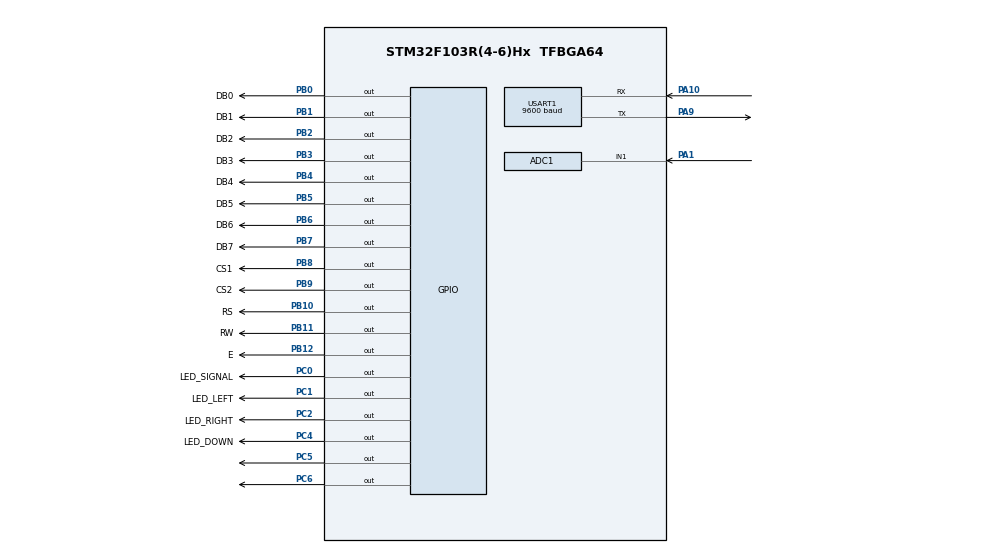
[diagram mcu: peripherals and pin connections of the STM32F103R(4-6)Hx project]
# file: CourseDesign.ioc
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ADC1.Channel-1\#ChannelRegularConversion=ADC_CHANNEL_1
ADC1.Channel-2\#ChannelInjectedConversion=ADC_CHANNEL_1
ADC1.ContinuousConvMode=ENABLE
ADC1.EnableInjectedConversion=ENABLE
ADC1.InjNumberOfConversion=1
ADC1.InjectedOffset-2\#ChannelInjectedConversion=0
ADC1.InjectedRank-2\#ChannelInjectedConversion=1
ADC1.NbrOfConversionFlag=1
ADC1.Rank-1\#ChannelRegularConversion=1
ADC1.SamplingTime-1\#ChannelRegularConversion=ADC_SAMPLETIME_1CYCLE_5
ADC1.SamplingTime-2\#ChannelInjectedConversion=ADC_SAMPLETIME_1CYCLE_5
ADC1.master=1
Mcu.Family=STM32F1
Mcu.Name=STM32F103R(4-6)Hx
Mcu.Package=TFBGA64
NVIC.PriorityGroup=NVIC_PRIORITYGROUP_4
NVIC.TIM3_IRQn=true\:0\:0\:false\:false\:true\:true\:true\:true
PA1.Signal=ADCx_IN1
PA10.Mode=Asynchronous
PA10.Signal=USART1_RX
PA13.Mode=Serial_Wire
PA13.Signal=SYS_JTMS-SWDIO
PA14.Mode=Serial_Wire
PA14.Signal=SYS_JTCK-SWCLK
PA9.Mode=Asynchronous
PA9.Signal=USART1_TX
PB0.GPIO_Label=DB0
PB0.Signal=GPIO_Output
PB1.GPIO_Label=DB1
PB1.Signal=GPIO_Output
PB10.GPIO_Label=RS
PB10.Signal=GPIO_Output
PB11.GPIO_Label=RW
PB11.Signal=GPIO_Output
PB12.GPIO_Label=E
PB12.Signal=GPIO_Output
PB2.GPIO_Label=DB2
PB2.Signal=GPIO_Output
PB3.GPIO_Label=DB3
PB3.Signal=GPIO_Output
PB4.GPIO_Label=DB4
PB4.Signal=GPIO_Output
PB5.GPIO_Label=DB5
PB5.Signal=GPIO_Output
PB6.GPIO_Label=DB6
PB6.Signal=GPIO_Output
PB7.GPIO_Label=DB7
PB7.Signal=GPIO_Output
PB8.GPIO_Label=CS1
PB8.Signal=GPIO_Output
PB9.GPIO_Label=CS2
PB9.Signal=GPIO_Output
PC0.GPIO_Label=LED_SIGNAL
PC0.Signal=GPIO_Output
PC1.GPIO_Label=LED_LEFT
PC1.Signal=GPIO_Output
PC2.GPIO_Label=LED_RIGHT
PC2.Signal=GPIO_Output
PC4.GPIO_Label=LED_DOWN
PC4.Signal=GPIO_Output
PC5.Signal=GPIO_Output
PC6.Signal=GPIO_Output
PD0-OSC_IN.Mode=HSE-External-Oscillator
PD0-OSC_IN.Signal=RCC_OSC_IN
PD1-OSC_OUT.Mode=HSE-External-Oscillator
PD1-OSC_OUT.Signal=RCC_OSC_OUT
ProjectManager.HeapSize=0x200
ProjectManager.StackSize=0x400
ProjectManager.TargetToolchain=MDK-ARM V5
RCC.APB1Freq_Value=8000000
RCC.APB2Freq_Value=8000000
SH.ADCx_IN1.0=ADC1_IN1,IN1
TIM3.Period=99
TIM3.Prescaler=7999
USART1.BaudRate=9600
USART1.VirtualMode=VM_ASYNC
VP_TIM3_VS_ClockSourceINT.Mode=Internal
board=custom

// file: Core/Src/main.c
/* USER CODE BEGIN Header */
/**
 ******************************************************************************
 * @file           : main.c
 * @brief          : Main program body
 ******************************************************************************
 * @attention
 *
 * Copyright (c) 2022 STMicroelectronics.
 * All rights reserved.
 *
 * This software is licensed under terms that can be found in the LICENSE file
 * in the root directory of this software component.
 * If no LICENSE file comes with this software, it is provided AS-IS.
 *
 ******************************************************************************
 */
/* USER CODE END Header */
#include "main.h"

/* USER CODE BEGIN Includes */
#include <stdio.h>
/* USER CODE END Includes */

/* USER CODE BEGIN PD */
#define PB0 GPIOB, GPIO_PIN_0
#define PB1 GPIOB, GPIO_PIN_1
#define PB2 GPIOB, GPIO_PIN_2
#define PB3 GPIOB, GPIO_PIN_3
#define PB4 GPIOB, GPIO_PIN_4
#define PB5 GPIOB, GPIO_PIN_5
#define PB6 GPIOB, GPIO_PIN_6
#define PB7 GPIOB, GPIO_PIN_7

#define E GPIOB, GPIO_PIN_12
#define RW GPIOB, GPIO_PIN_11
#define RS GPIOB, GPIO_PIN_10
#define CS1 GPIOB, GPIO_PIN_8
#define CS2 GPIOB, GPIO_PIN_9

#define SIGNAL GPIOC, GPIO_PIN_0
#define LEFT GPIOC, GPIO_PIN_1
#define RIGHT GPIOC, GPIO_PIN_2
#define DOWN GPIOC, GPIO_PIN_4

#define TYPE1 GPIOC, GPIO_PIN_5
#define TYPE0 GPIOC, GPIO_PIN_6
/* USER CODE END PD */

/* USER CODE BEGIN PM */
int score = 0;
int startflag = 0;
int map[8][7];  //每个格子的黑白，黑为1，白�?0
int R[3], L[3]; //正在控制的块的行列位�?
int blocktype = 0;
uint16_t ADC_Value = 0;
uint8_t button[1] = {0x00};
char c_huan[] = {
    /*--  文字:  �??  --*/
    /*--  宋体12;  此字体下对应的点阵为：宽x�??=16x16   --*/
    0x04, 0x24, 0x44, 0x84, 0x64, 0x9C, 0x40, 0x30, 0x0F, 0xC8, 0x08, 0x08, 0x28, 0x18, 0x00, 0x00,
    0x10, 0x08, 0x06, 0x01, 0x82, 0x4C, 0x20, 0x18, 0x06, 0x01, 0x06, 0x18, 0x20, 0x40, 0x80, 0x00};
char c_ying[] = {
    /*--  文字:  �??  --*/
    /*--  宋体12;  此字体下对应的点阵为：宽x�??=16x16   --*/
    0x40, 0x40, 0x42, 0xCC, 0x00, 0x00, 0xFC, 0x04, 0x02, 0x00, 0xFC, 0x04, 0x04, 0xFC, 0x00, 0x00,
    0x00, 0x40, 0x20, 0x1F, 0x20, 0x40, 0x4F, 0x44, 0x42, 0x40, 0x7F, 0x42, 0x44, 0x43, 0x40, 0x00};
char c_fen[] = {
    /*--  文字:  �??  --*/
    /*--  宋体12;  此字体下对应的点阵为：宽x�??=16x16   --*/
    0x80, 0x40, 0x20, 0x90, 0x88, 0x86, 0x80, 0x80, 0x80, 0x83, 0x8C, 0x10, 0x20, 0x40, 0x80, 0x00,
    0x00, 0x80, 0x40, 0x20, 0x18, 0x07, 0x00, 0x40, 0x80, 0x40, 0x3F, 0x00, 0x00, 0x00, 0x00, 0x00};
char c_shu[] = {
    /*--  文字:  �??  --*/
    /*--  宋体12;  此字体下对应的点阵为：宽x�??=16x16   --*/
    0x90, 0x52, 0x34, 0x10, 0xFF, 0x10, 0x34, 0x52, 0x80, 0x70, 0x8F, 0x08, 0x08, 0xF8, 0x08, 0x00,
    0x82, 0x9A, 0x56, 0x63, 0x22, 0x52, 0x8E, 0x00, 0x80, 0x40, 0x33, 0x0C, 0x33, 0x40, 0x80, 0x00};
char c_number[][32] = {
    /*--  文字:  �??  --*/
    /*--  宋体12;  此字体下对应的点阵为：宽x�??=16x16   --*/
    {0x00, 0x00, 0x00, 0xFC, 0x02, 0x01, 0x01, 0x01, 0x01, 0x01, 0x02, 0xFC, 0x00, 0x00, 0x00, 0x00,
     0x00, 0x00, 0x00, 0x03, 0x04, 0x08, 0x08, 0x08, 0x08, 0x08, 0x04, 0x03, 0x00, 0x00, 0x00, 0x00},

    /*--  文字:  �??  --*/
    /*--  宋体12;  此字体下对应的点阵为：宽x�??=16x16   --*/
    {0x00, 0x00, 0x00, 0x00, 0x00, 0x04, 0x02, 0xFF, 0x00, 0x00, 0x00, 0x00, 0x00, 0x00, 0x00, 0x00,
     0x00, 0x00, 0x00, 0x00, 0x00, 0x00, 0x00, 0x0F, 0x00, 0x00, 0x00, 0x00, 0x00, 0x00, 0x00, 0x00},

    /*--  文字:  �??  --*/
    /*--  宋体12;  此字体下对应的点阵为：宽x�??=16x16   --*/
    {0x00, 0x00, 0x00, 0x04, 0x02, 0x01, 0x01, 0x81, 0x41, 0x22, 0x1C, 0x00, 0x00, 0x00, 0x00, 0x00,
     0x00, 0x00, 0x00, 0x08, 0x0C, 0x0A, 0x09, 0x08, 0x08, 0x08, 0x08, 0x08, 0x00, 0x00, 0x00, 0x00},

    /*--  文字:  �??  --*/
    /*--  宋体12;  此字体下对应的点阵为：宽x�??=16x16   --*/
    {0x00, 0x00, 0x00, 0x00, 0x01, 0x01, 0x01, 0x11, 0x19, 0x15, 0x23, 0xC1, 0x00, 0x00, 0x00, 0x00,
     0x00, 0x00, 0x00, 0x00, 0x04, 0x08, 0x08, 0x08, 0x08, 0x08, 0x04, 0x03, 0x00, 0x00, 0x00, 0x00},

    /*--  文字:  �??  --*/
    /*--  宋体12;  此字体下对应的点阵为：宽x�??=16x16   --*/
    {0x00, 0x00, 0x00, 0xC0, 0x30, 0x0C, 0x03, 0x00, 0xF8, 0x00, 0x00, 0x00, 0x00, 0x00, 0x00, 0x00,
     0x00, 0x00, 0x01, 0x01, 0x01, 0x01, 0x01, 0x01, 0x0F, 0x01, 0x01, 0x01, 0x00, 0x00, 0x00, 0x00},

    /*--  文字:  �??  --*/
    /*--  宋体12;  此字体下对应的点阵为：宽x�??=16x16   --*/
    {0x00, 0x00, 0x00, 0x1F, 0x11, 0x11, 0x11, 0x11, 0x21, 0xC1, 0x00, 0x00, 0x00, 0x00, 0x00, 0x00,
     0x00, 0x00, 0x00, 0x04, 0x08, 0x08, 0x08, 0x08, 0x04, 0x03, 0x00, 0x00, 0x00, 0x00, 0x00, 0x00},

    /*--  文字:  �??  --*/
    /*--  宋体12;  此字体下对应的点阵为：宽x�??=16x16   --*/
    {0x00, 0x00, 0x00, 0xC0, 0x30, 0x28, 0x24, 0x22, 0x21, 0x40, 0x80, 0x00, 0x00, 0x00, 0x00, 0x00,
     0x00, 0x00, 0x00, 0x03, 0x04, 0x08, 0x08, 0x08, 0x08, 0x04, 0x03, 0x00, 0x00, 0x00, 0x00, 0x00},

    /*--  文字:  �??  --*/
    /*--  宋体12;  此字体下对应的点阵为：宽x�??=16x16   --*/
    {0x00, 0x00, 0x00, 0x01, 0x01, 0x01, 0x81, 0x61, 0x19, 0x05, 0x03, 0x01, 0x00, 0x00, 0x00, 0x00,
     0x00, 0x00, 0x00, 0x00, 0x00, 0x00, 0x0F, 0x00, 0x00, 0x00, 0x00, 0x00, 0x00, 0x00, 0x00, 0x00},

    /*--  文字:  �??  --*/
    /*--  宋体12;  此字体下对应的点阵为：宽x�??=16x16   --*/
    {0x00, 0x00, 0x00, 0x8C, 0x52, 0x21, 0x21, 0x21, 0x21, 0x52, 0x8C, 0x00, 0x00, 0x00, 0x00, 0x00,
     0x00, 0x00, 0x00, 0x03, 0x04, 0x08, 0x08, 0x08, 0x08, 0x04, 0x03, 0x00, 0x00, 0x00, 0x00, 0x00},

    /*--  文字:  �??  --*/
    /*--  宋体12;  此字体下对应的点阵为：宽x�??=16x16   --*/
    {0x00, 0x00, 0x00, 0x1C, 0x22, 0x41, 0x41, 0x41, 0x41, 0xC2, 0x3C, 0x00, 0x00, 0x00, 0x00, 0x00,
     0x00, 0x00, 0x00, 0x00, 0x00, 0x08, 0x04, 0x02, 0x01, 0x00, 0x00, 0x00, 0x00, 0x00, 0x00, 0x00}};
char c_gameover[][32] = {
    /*--  文字:  �??  --*/
    /*--  宋体12;  此字体下对应的点阵为：宽x�??=16x16   --*/
    {0x00, 0x00, 0x00, 0xF8, 0x04, 0x02, 0x02, 0x02, 0x02, 0x82, 0x84, 0x8E, 0x80, 0x00, 0x00, 0x00,
     0x00, 0x00, 0x00, 0x03, 0x04, 0x08, 0x08, 0x08, 0x08, 0x08, 0x04, 0x0F, 0x00, 0x00, 0x00, 0x00},

    /*--  文字:  �??  --*/
    /*--  宋体12;  此字体下对应的点阵为：宽x�??=16x16   --*/
    {0x00, 0x00, 0x00, 0x00, 0xC0, 0xB0, 0x8C, 0x82, 0x8C, 0xB0, 0xC0, 0x00, 0x00, 0x00, 0x00, 0x00,
     0x00, 0x08, 0x0C, 0x0B, 0x00, 0x00, 0x00, 0x00, 0x00, 0x00, 0x00, 0x0B, 0x0C, 0x08, 0x00, 0x00},

    /*--  文字:  �??  --*/
    /*--  宋体12;  此字体下对应的点阵为：宽x�??=16x16   --*/
    {0x00, 0x00, 0x02, 0xFE, 0x04, 0x18, 0x60, 0x80, 0x60, 0x18, 0x04, 0xFE, 0x02, 0x00, 0x00, 0x00,
     0x00, 0x00, 0x08, 0x0F, 0x08, 0x00, 0x00, 0x01, 0x00, 0x00, 0x08, 0x0F, 0x08, 0x00, 0x00, 0x00},

    /*--  文字:  �??  --*/
    /*--  宋体12;  此字体下对应的点阵为：宽x�??=16x16   --*/
    {0x00, 0x00, 0x02, 0xFE, 0x42, 0x42, 0x42, 0x42, 0xE2, 0x02, 0x02, 0x0E, 0x00, 0x00, 0x00, 0x00,
     0x00, 0x00, 0x08, 0x0F, 0x08, 0x08, 0x08, 0x08, 0x08, 0x08, 0x08, 0x0E, 0x00, 0x00, 0x00, 0x00},

    /*--  文字:  �??  --*/
    /*--  宋体12;  此字体下对应的点阵为：宽x�??=16x16   --*/
    {0x00, 0x00, 0xF0, 0x08, 0x04, 0x02, 0x02, 0x02, 0x02, 0x04, 0x08, 0xF0, 0x00, 0x00, 0x00, 0x00,
     0x00, 0x00, 0x01, 0x02, 0x04, 0x08, 0x08, 0x08, 0x08, 0x04, 0x02, 0x01, 0x00, 0x00, 0x00, 0x00},

    /*--  文字:  �??  --*/
    /*--  宋体12;  此字体下对应的点阵为：宽x�??=16x16   --*/
    {0x00, 0x02, 0x06, 0x1A, 0x60, 0x80, 0x00, 0x00, 0x00, 0x80, 0x60, 0x1A, 0x06, 0x02, 0x00, 0x00,
     0x00, 0x00, 0x00, 0x00, 0x00, 0x01, 0x06, 0x08, 0x06, 0x01, 0x00, 0x00, 0x00, 0x00, 0x00, 0x00},

    /*--  文字:  �??  --*/
    /*--  宋体12;  此字体下对应的点阵为：宽x�??=16x16   --*/
    {0x00, 0x00, 0x02, 0xFE, 0x42, 0x42, 0x42, 0x42, 0xE2, 0x02, 0x02, 0x0E, 0x00, 0x00, 0x00, 0x00,
     0x00, 0x00, 0x08, 0x0F, 0x08, 0x08, 0x08, 0x08, 0x08, 0x08, 0x08, 0x0E, 0x00, 0x00, 0x00, 0x00},

    /*--  文字:  �??  --*/
    /*--  宋体12;  此字体下对应的点阵为：宽x�??=16x16   --*/
    {0x00, 0x00, 0x02, 0xFE, 0x42, 0x42, 0xC2, 0x42, 0x42, 0x42, 0x24, 0x18, 0x00, 0x00, 0x00, 0x00,
     0x00, 0x00, 0x08, 0x0F, 0x08, 0x00, 0x00, 0x01, 0x02, 0x04, 0x08, 0x08, 0x00, 0x00, 0x00, 0x00}};
/* USER CODE END PM */

ADC_HandleTypeDef hadc1;

TIM_HandleTypeDef htim3;

UART_HandleTypeDef huart1;

void SystemClock_Config(void);
static void MX_GPIO_Init(void);
static void MX_USART1_UART_Init(void);
static void MX_TIM3_Init(void);
static void MX_ADC1_Init(void);

/* USER CODE BEGIN 0 */
void SetPB(char data) //设置PB0-PB7
{
    HAL_GPIO_WritePin(PB0, data % 2);
    HAL_GPIO_WritePin(PB1, (data >> 1) % 2);
    HAL_GPIO_WritePin(PB2, (data >> 2) % 2);
    HAL_GPIO_WritePin(PB3, (data >> 3) % 2);
    HAL_GPIO_WritePin(PB4, (data >> 4) % 2);
    HAL_GPIO_WritePin(PB5, (data >> 5) % 2);
    HAL_GPIO_WritePin(PB6, (data >> 6) % 2);
    HAL_GPIO_WritePin(PB7, (data >> 7) % 2);
}
void CheckBusy() //忙检�??
{
    HAL_GPIO_WritePin(RW, 1);
    HAL_GPIO_WritePin(RS, 0);
    HAL_GPIO_WritePin(E, 1);
    while (1)
    {
        HAL_GPIO_WritePin(E, 0);
        if (HAL_GPIO_ReadPin(PB7) == 0)
            break;
    }
    HAL_GPIO_WritePin(E, 1);
}
void WriteCmd(char data) //写指�??
{
    HAL_GPIO_WritePin(RS, 0);
    HAL_GPIO_WritePin(RW, 0);
    HAL_GPIO_WritePin(E, 1);
    SetPB(data);
    HAL_GPIO_WritePin(E, 0);
}
void WriteData(char data) //写数�??
{
    HAL_GPIO_WritePin(RS, 1);
    HAL_GPIO_WritePin(RW, 0);
    HAL_GPIO_WritePin(E, 1);
    SetPB(data);
    HAL_GPIO_WritePin(E, 0);
}
void LCD_Init() //初始�??
{
    WriteCmd(0x30);
    HAL_Delay(5);
    WriteCmd(0x0C); //�??显示，关光标，不闪烁
    HAL_Delay(5);
    WriteCmd(0x01); //清除显示
    HAL_Delay(5);
    WriteCmd(0x06); //光标的移动方向向左，DDRM的地�??计数器（AC）加1
    HAL_Delay(5);
}
void SetPosition(char x, char y) //设置坐标
{
    if (y >= 64)
    {
        HAL_GPIO_WritePin(CS1, 1);
        HAL_GPIO_WritePin(CS2, 0);
        y = y - 64;
    }
    else
    {
        HAL_GPIO_WritePin(CS1, 0);
        HAL_GPIO_WritePin(CS2, 1);
    }
    WriteCmd(0x40 | y);
    HAL_Delay(10);
    WriteCmd(0xb8 | x);
}
void DisplayCharacter(char R, char L, char p[]) //显示字符
{
    char i;
    for (i = 0; i < 16; i++)
    {
        SetPosition(2 * R, 16 * L + i);
        WriteData(p[i]);
        SetPosition(2 * R + 1, 16 * L + i);
        WriteData(p[i + +16]);
    }
}
void DisplayBlack(char R, char L) //显示黑色方块
{
    char i;
    for (i = 0; i < 8; i++)
    {
        SetPosition(R, 8 * L + i);
        WriteData(0xFF);
    }
}
void DisplayWrite(char R, char L) //显示白色方块
{
    char i;
    for (i = 0; i < 8; i++)
    {
        SetPosition(R, 8 * L + i);
        WriteData(0x00);
    }
}
void LCD_ShowHuanYing()
{
    DisplayCharacter(0, 6, c_huan);
    DisplayCharacter(0, 7, c_ying);
}
void LCD_ShoeFenShu()
{
    DisplayCharacter(0, 6, c_fen);
    DisplayCharacter(0, 7, c_shu);
}
void LCD_ShowScore()
{
    if (score >= 1000)
        DisplayCharacter(1, 4, c_number[(score % 10000) / 1000]);
    if (score >= 100)
        DisplayCharacter(1, 5, c_number[(score % 1000) / 100]);
    if (score >= 10)
        DisplayCharacter(1, 6, c_number[(score % 100) / 10]);
    if (score >= 0)
        DisplayCharacter(1, 7, c_number[score % 10]);
}
void LCD_ShowGO()
{
    for (int i = 0; i < 8; i++)
        DisplayCharacter(i / 4 + 2, i % 4 + 4, c_gameover[i]);
}
void LCD_ShowStartWrite()
{
    for (int i = 0; i < 128; i++)
        if (i % 16 == 7)
            DisplayBlack(i / 16, i % 16);
        else
            DisplayWrite(i / 16, i % 16);
}
void MakeNewBlock()
{
    blocktype = ((int)ADC_Value % 400) / 100;
    switch (blocktype)
    {
    case 0: //横直�?
        R[0] = 0;
        L[0] = 2;
        R[1] = 0;
        L[1] = 3;
        R[2] = 0;
        L[2] = 4;
        break;
    case 1: //竖直�?
        R[0] = 2;
        L[0] = 3;
        R[1] = 1;
        L[1] = 3;
        R[2] = 0;
        L[2] = 3;
        break;
    case 2: //左上�?
        R[0] = 1;
        L[0] = 3;
        R[1] = 0;
        L[1] = 3;
        R[2] = 0;
        L[2] = 4;
        break;
    case 3: //右下�?
        R[0] = 1;
        L[0] = 3;
        R[1] = 0;
        L[1] = 4;
        R[2] = 1;
        L[2] = 4;
        break;
    }
    for (int i = 0; i < 3; i++)
        if (map[R[i]][L[i]] == 1)
        {
            startflag = 0;
            return;
        }
    for (int i = 0; i < 3; i++)
    {
        DisplayBlack(R[i], L[i]);
        map[R[i]][L[i]] = 1;
    }
}
void BlockGetBottom()
{
    for (int i = 0; i < 8; i++)
    {
        if (map[i][0] == 1 && map[i][1] == 1 && map[i][2] == 1 && map[i][3] == 1 && map[i][4] == 1 && map[i][5] == 1 && map[i][6] == 1)
        {
            for (int j = i; j > 0; j--)
            {
                for (int k = 0; k < 7; k++)
                {
                    DisplayWrite(j, k);
                    if (map[j - 1][k] == 0)
                    {
                        DisplayWrite(j, k);
                        map[j][k] = 0;
                    }
                    if (map[j - 1][k] == 1)
                    {
                        DisplayBlack(j, k);
                        map[j][k] = 1;
                    }
                }
            }
            score++;
            HAL_UART_Transmit(&huart1, "Score+1\r\n", 10, 1000);
            LCD_ShowScore();
        }
    }
    MakeNewBlock();
}
void BlockStep()
{
    if (R[0] == 7 || R[1] == 7 || R[2] == 7)
    {
        BlockGetBottom();
        return;
    }
    switch (blocktype)
    {
    case 0:
        if (map[R[0] + 1][L[0]] == 1 || map[R[1] + 1][L[1]] == 1 || map[R[2] + 1][L[2]] == 1)
        {
            BlockGetBottom();
            return;
        }
        break;
    case 1:
        if (map[R[0] + 1][L[0]] == 1)
        {
            BlockGetBottom();
            return;
        }
        break;
    case 2:
        if (map[R[0] + 1][L[0]] == 1 || map[R[2] + 1][L[2]] == 1)
        {
            BlockGetBottom();
            return;
        }
        break;
    case 3:
        if (map[R[0] + 1][L[0]] == 1 || map[R[2] + 1][L[2]] == 1)
        {
            BlockGetBottom();
            return;
        }
        break;
    }
    HAL_GPIO_WritePin(RIGHT, 1);
    HAL_GPIO_WritePin(LEFT, 1);
    HAL_GPIO_WritePin(DOWN, 0);
    for (int i = 0; i < 3; i++)
    {
        DisplayWrite(R[i], L[i]);
        map[R[i]][L[i]] = 0;
        R[i] = R[i] + 1;
    }
    for (int i = 0; i < 3; i++)
    {
        DisplayBlack(R[i], L[i]);
        map[R[i]][L[i]] = 1;
    }
}
void BlockToLeft()
{
    if (L[0] == 0)
        return;
    switch (blocktype)
    {
    case 0:
        if (map[R[0]][L[0] - 1] == 1)
            return;
        break;
    case 1:
        if (map[R[0]][L[0] - 1] == 1 || map[R[1]][L[1] - 1] == 1 || map[R[2]][L[2] - 1] == 1)
            return;
        break;
    case 2:
        if (map[R[0]][L[0] - 1] == 1 || map[R[1]][L[1] - 1] == 1)
            return;
        break;
    case 3:
        if (map[R[0]][L[0] - 1] == 1 || map[R[1]][L[1] - 1] == 1)
            return;
        break;
    }
    HAL_GPIO_WritePin(RIGHT, 1);
    HAL_GPIO_WritePin(DOWN, 1);
    HAL_GPIO_WritePin(LEFT, 0);
    for (int i = 0; i < 3; i++)
    {
        DisplayWrite(R[i], L[i]);
        map[R[i]][L[i]] = 0;
        L[i] = L[i] - 1;
    }
    for (int i = 0; i < 3; i++)
    {
        DisplayBlack(R[i], L[i]);
        map[R[i]][L[i]] = 1;
    }
}
void BlockToRight()
{
    if (L[2] == 6)
        return;
    switch (blocktype)
    {
    case 0:
        if (map[R[2]][L[2] + 1] == 1)
            return;
        break;
    case 1:
        if (map[R[0]][L[0] + 1] == 1 || map[R[1]][L[1] + 1] == 1 || map[R[2]][L[2] + 1] == 1)
            return;
        break;
    case 2:
        if (map[R[0]][L[0] + 1] == 1 || map[R[2]][L[2] + 1] == 1)
            return;
        break;
    case 3:
        if (map[R[1]][L[1] + 1] == 1 || map[R[2]][L[2] + 1] == 1)
            return;
        break;
    }
    HAL_GPIO_WritePin(LEFT, 1);
    HAL_GPIO_WritePin(DOWN, 1);
    HAL_GPIO_WritePin(RIGHT, 0);
    for (int i = 0; i < 3; i++)
    {
        DisplayWrite(R[i], L[i]);
        map[R[i]][L[i]] = 0;
        L[i] = L[i] + 1;
    }
    for (int i = 0; i < 3; i++)
    {
        DisplayBlack(R[i], L[i]);
        map[R[i]][L[i]] = 1;
    }
}
int PC_LED = 0;
void HAL_TIM_PeriodElapsedCallback(TIM_HandleTypeDef *htim)
{
    if (htim->Instance == TIM3)
    {
        switch (PC_LED)
        {
        case 0:
            HAL_GPIO_TogglePin(SIGNAL);
            HAL_GPIO_TogglePin(LEFT);
            PC_LED = 1;
            break;
        case 1:
            HAL_GPIO_TogglePin(LEFT);
            HAL_GPIO_TogglePin(RIGHT);
            PC_LED = 2;
            break;
        case 2:
            HAL_GPIO_TogglePin(RIGHT);
            HAL_GPIO_TogglePin(DOWN);
            PC_LED = 3;
            break;
        case 3:
            HAL_GPIO_TogglePin(DOWN);
            HAL_GPIO_TogglePin(SIGNAL);
            PC_LED = 0;
            break;
        }
    }
}

/* USER CODE END 0 */

int main(void)
{

    /* MCU Configuration--------------------------------------------------------*/

    /* Reset of all peripherals, Initializes the Flash interface and the Systick. */
    HAL_Init();

    /* Configure the system clock */
    SystemClock_Config();

    /* Initialize all configured peripherals */
    MX_GPIO_Init();
    MX_USART1_UART_Init();
    MX_TIM3_Init();
    MX_ADC1_Init();
    /* USER CODE BEGIN 2 */
    HAL_GPIO_WritePin(SIGNAL, 0);
    HAL_GPIO_WritePin(LEFT, 1);
    HAL_GPIO_WritePin(RIGHT, 1);
    HAL_GPIO_WritePin(DOWN, 1);
    HAL_TIM_Base_Start_IT(&htim3);
    LCD_Init();
    LCD_ShowStartWrite();
    LCD_ShowHuanYing();
    HAL_UART_Transmit(&huart1, "Welcome to the game.\r\n", 23, 1000);
    HAL_UART_Transmit(&huart1, "You can input 'Space' to start the game.\r\n", 43, 1000);
    HAL_UART_Transmit(&huart1, "You can input 'A'(left) or 'D'(right) or 'S'(down) to control the block.\r\n", 75, 1000);
    HAL_UART_Transmit(&huart1, "Also,you can use the pot to control the type pf next block.\r\n", 62, 1000);
    HAL_UART_Transmit(&huart1, "After use the pot, don't forget to click the terminal when you want to move the block.\r\n", 89, 1000);
    HAL_UART_Transmit(&huart1, "Now, you can input 'space' to start the game.\r\n", 48, 1000);
    for (int i = 0; i < 8; i++)
        for (int j = 0; j < 7; j++)
            map[i][j] = 0;
    /* USER CODE END 2 */

    /* Infinite loop */
    while (1)
    {

        /* USER CODE BEGIN 3 */
        HAL_Delay(100);
        HAL_UART_Receive(&huart1, button, 1, 100);
        if (button[0] == ' ')
            startflag = 1;
        if (startflag == 1)
            break;
    }
    HAL_TIM_Base_Stop_IT(&htim3);
    HAL_GPIO_WritePin(SIGNAL, 0);
    HAL_GPIO_WritePin(LEFT, 1);
    HAL_GPIO_WritePin(RIGHT, 1);
    HAL_GPIO_WritePin(DOWN, 1);
    LCD_ShoeFenShu();
    LCD_ShowScore();
    MakeNewBlock();
    while (1)
    {
        if (startflag == 0)
            break;
        HAL_Delay(100);
        HAL_ADC_Start(&hadc1);
        HAL_ADC_PollForConversion(&hadc1, 1000);
        ADC_Value = HAL_ADC_GetValue(&hadc1);
        HAL_GPIO_WritePin(TYPE1, (ADC_Value % 400) / 200);
        HAL_GPIO_WritePin(TYPE0, (ADC_Value % 200) / 100);
        HAL_UART_Receive(&huart1, button, 1, 1000);
        switch (button[0])
        {
        case 'a':
            BlockToLeft();
            HAL_UART_Transmit(&huart1, "Left\r\n", 7, 1000);
            break;
        case 'd':
            BlockToRight();
            HAL_UART_Transmit(&huart1, "Right\r\n", 8, 1000);
            break;
        case 's':
            BlockStep();
            HAL_UART_Transmit(&huart1, "Down\r\n", 7, 1000);
            break;
        default:
            BlockStep();
            HAL_UART_Transmit(&huart1, "Down\r\n", 7, 1000);
            break;
        }
        button[0] = 's';
    }
    HAL_GPIO_WritePin(SIGNAL, 1);
    HAL_GPIO_WritePin(LEFT, 1);
    HAL_GPIO_WritePin(RIGHT, 1);
    HAL_GPIO_WritePin(DOWN, 1);
    HAL_UART_Transmit(&huart1, "Game Over.\r\n", 13, 1000);
    HAL_UART_Transmit(&huart1, "Please stop and end the game.\r\n", 32, 1000);
    LCD_ShowGO();
    HAL_Delay(30000);
    /* USER CODE END 3 */
}

void SystemClock_Config(void)
{
    RCC_OscInitTypeDef RCC_OscInitStruct = {0};
    RCC_ClkInitTypeDef RCC_ClkInitStruct = {0};
    RCC_PeriphCLKInitTypeDef PeriphClkInit = {0};

    /** Initializes the RCC Oscillators according to the specified parameters
     * in the RCC_OscInitTypeDef structure.
     */
    RCC_OscInitStruct.OscillatorType = RCC_OSCILLATORTYPE_HSI;
    RCC_OscInitStruct.HSIState = RCC_HSI_ON;
    RCC_OscInitStruct.HSICalibrationValue = RCC_HSICALIBRATION_DEFAULT;
    RCC_OscInitStruct.PLL.PLLState = RCC_PLL_NONE;
    if (HAL_RCC_OscConfig(&RCC_OscInitStruct) != HAL_OK)
    {
        Error_Handler();
    }

    /** Initializes the CPU, AHB and APB buses clocks
     */
    RCC_ClkInitStruct.ClockType = RCC_CLOCKTYPE_HCLK | RCC_CLOCKTYPE_SYSCLK | RCC_CLOCKTYPE_PCLK1 | RCC_CLOCKTYPE_PCLK2;
    RCC_ClkInitStruct.SYSCLKSource = RCC_SYSCLKSOURCE_HSI;
    RCC_ClkInitStruct.AHBCLKDivider = RCC_SYSCLK_DIV1;
    RCC_ClkInitStruct.APB1CLKDivider = RCC_HCLK_DIV1;
    RCC_ClkInitStruct.APB2CLKDivider = RCC_HCLK_DIV1;

    if (HAL_RCC_ClockConfig(&RCC_ClkInitStruct, FLASH_LATENCY_0) != HAL_OK)
    {
        Error_Handler();
    }
    PeriphClkInit.PeriphClockSelection = RCC_PERIPHCLK_ADC;
    PeriphClkInit.AdcClockSelection = RCC_ADCPCLK2_DIV2;
    if (HAL_RCCEx_PeriphCLKConfig(&PeriphClkInit) != HAL_OK)
    {
        Error_Handler();
    }
}

static void MX_ADC1_Init(void)
{

    ADC_ChannelConfTypeDef sConfig = {0};
    ADC_InjectionConfTypeDef sConfigInjected = {0};

    /** Common config
     */
    hadc1.Instance = ADC1;
    hadc1.Init.ScanConvMode = ADC_SCAN_DISABLE;
    hadc1.Init.ContinuousConvMode = ENABLE;
    hadc1.Init.DiscontinuousConvMode = DISABLE;
    hadc1.Init.ExternalTrigConv = ADC_SOFTWARE_START;
    hadc1.Init.DataAlign = ADC_DATAALIGN_RIGHT;
    hadc1.Init.NbrOfConversion = 1;
    if (HAL_ADC_Init(&hadc1) != HAL_OK)
    {
        Error_Handler();
    }

    /** Configure Regular Channel
     */
    sConfig.Channel = ADC_CHANNEL_1;
    sConfig.Rank = ADC_REGULAR_RANK_1;
    sConfig.SamplingTime = ADC_SAMPLETIME_1CYCLE_5;
    if (HAL_ADC_ConfigChannel(&hadc1, &sConfig) != HAL_OK)
    {
        Error_Handler();
    }

    /** Configure Injected Channel
     */
    sConfigInjected.InjectedChannel = ADC_CHANNEL_1;
    sConfigInjected.InjectedRank = ADC_INJECTED_RANK_1;
    sConfigInjected.InjectedNbrOfConversion = 1;
    sConfigInjected.InjectedSamplingTime = ADC_SAMPLETIME_1CYCLE_5;
    sConfigInjected.ExternalTrigInjecConv = ADC_INJECTED_SOFTWARE_START;
    sConfigInjected.AutoInjectedConv = DISABLE;
    sConfigInjected.InjectedDiscontinuousConvMode = DISABLE;
    sConfigInjected.InjectedOffset = 0;
    if (HAL_ADCEx_InjectedConfigChannel(&hadc1, &sConfigInjected) != HAL_OK)
    {
        Error_Handler();
    }
}

static void MX_TIM3_Init(void)
{

    TIM_ClockConfigTypeDef sClockSourceConfig = {0};
    TIM_MasterConfigTypeDef sMasterConfig = {0};

    htim3.Instance = TIM3;
    htim3.Init.Prescaler = 7999;
    htim3.Init.CounterMode = TIM_COUNTERMODE_UP;
    htim3.Init.Period = 99;
    htim3.Init.ClockDivision = TIM_CLOCKDIVISION_DIV1;
    htim3.Init.AutoReloadPreload = TIM_AUTORELOAD_PRELOAD_DISABLE;
    if (HAL_TIM_Base_Init(&htim3) != HAL_OK)
    {
        Error_Handler();
    }
    sClockSourceConfig.ClockSource = TIM_CLOCKSOURCE_INTERNAL;
    if (HAL_TIM_ConfigClockSource(&htim3, &sClockSourceConfig) != HAL_OK)
    {
        Error_Handler();
    }
    sMasterConfig.MasterOutputTrigger = TIM_TRGO_RESET;
    sMasterConfig.MasterSlaveMode = TIM_MASTERSLAVEMODE_DISABLE;
    if (HAL_TIMEx_MasterConfigSynchronization(&htim3, &sMasterConfig) != HAL_OK)
    {
        Error_Handler();
    }
}

static void MX_USART1_UART_Init(void)
{

    huart1.Instance = USART1;
    huart1.Init.BaudRate = 9600;
    huart1.Init.WordLength = UART_WORDLENGTH_8B;
    huart1.Init.StopBits = UART_STOPBITS_1;
    huart1.Init.Parity = UART_PARITY_NONE;
    huart1.Init.Mode = UART_MODE_TX_RX;
    huart1.Init.HwFlowCtl = UART_HWCONTROL_NONE;
    huart1.Init.OverSampling = UART_OVERSAMPLING_16;
    if (HAL_UART_Init(&huart1) != HAL_OK)
    {
        Error_Handler();
    }
}

static void MX_GPIO_Init(void)
{
    GPIO_InitTypeDef GPIO_InitStruct = {0};

    /* GPIO Ports Clock Enable */
    __HAL_RCC_GPIOB_CLK_ENABLE();
    __HAL_RCC_GPIOA_CLK_ENABLE();
    __HAL_RCC_GPIOD_CLK_ENABLE();
    __HAL_RCC_GPIOC_CLK_ENABLE();

    /*Configure GPIO pin Output Level */
    HAL_GPIO_WritePin(GPIOB, CS2_Pin | DB4_Pin | DB3_Pin | CS1_Pin | DB7_Pin | DB5_Pin | DB6_Pin | DB0_Pin | DB1_Pin | DB2_Pin | RS_Pin | RW_Pin | E_Pin, GPIO_PIN_RESET);

    /*Configure GPIO pin Output Level */
    HAL_GPIO_WritePin(GPIOC, LED_LEFT_Pin | LED_SIGNAL_Pin | LED_RIGHT_Pin | GPIO_PIN_6 | LED_DOWN_Pin | GPIO_PIN_5, GPIO_PIN_RESET);

    /*Configure GPIO pins : CS2_Pin DB4_Pin DB3_Pin CS1_Pin
                             DB7_Pin DB5_Pin DB6_Pin DB0_Pin
                             DB1_Pin DB2_Pin RS_Pin RW_Pin
                             E_Pin */
    GPIO_InitStruct.Pin = CS2_Pin | DB4_Pin | DB3_Pin | CS1_Pin | DB7_Pin | DB5_Pin | DB6_Pin | DB0_Pin | DB1_Pin | DB2_Pin | RS_Pin | RW_Pin | E_Pin;
    GPIO_InitStruct.Mode = GPIO_MODE_OUTPUT_PP;
    GPIO_InitStruct.Pull = GPIO_NOPULL;
    GPIO_InitStruct.Speed = GPIO_SPEED_FREQ_LOW;
    HAL_GPIO_Init(GPIOB, &GPIO_InitStruct);

    /*Configure GPIO pins : LED_LEFT_Pin LED_SIGNAL_Pin LED_RIGHT_Pin PC6
                             LED_DOWN_Pin PC5 */
    GPIO_InitStruct.Pin = LED_LEFT_Pin | LED_SIGNAL_Pin | LED_RIGHT_Pin | GPIO_PIN_6 | LED_DOWN_Pin | GPIO_PIN_5;
    GPIO_InitStruct.Mode = GPIO_MODE_OUTPUT_PP;
    GPIO_InitStruct.Pull = GPIO_NOPULL;
    GPIO_InitStruct.Speed = GPIO_SPEED_FREQ_LOW;
    HAL_GPIO_Init(GPIOC, &GPIO_InitStruct);
}

void Error_Handler(void)
{
    __disable_irq();
    while (1)
    {
    }
}
